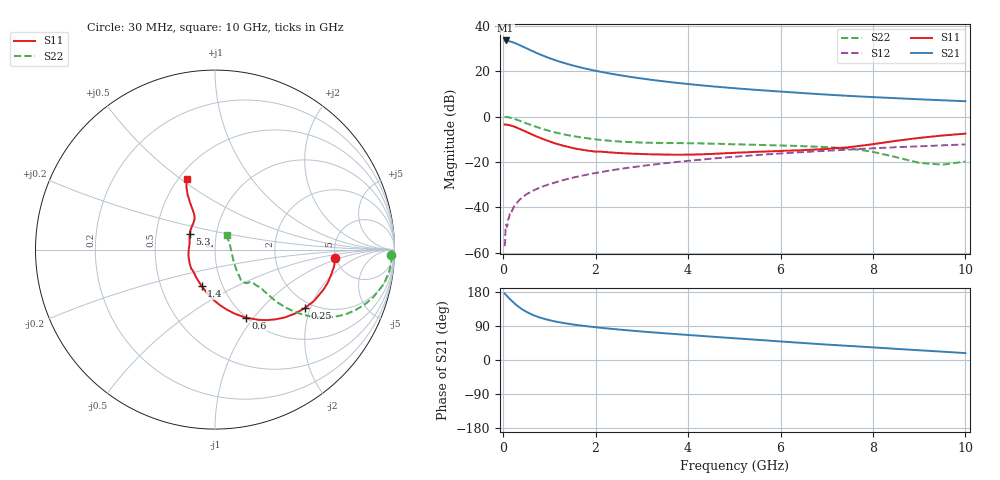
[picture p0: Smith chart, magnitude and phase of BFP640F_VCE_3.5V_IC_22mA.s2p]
! Infineon Technologies  Discrete & RF Semiconductors
! BFP640F
! VCE =  3.5 V,  IC =  22 mA
! Common Emitter S-Parameters:  Apr 2013
# GHz  S  MA  R  50
!  f  S11  S21  S12  S22
! GHz  MAG  ANG  MAG  ANG  MAG  ANG  MAG  ANG
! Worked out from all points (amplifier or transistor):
!   99 points, 30 MHz to 10 GHz, reference 50 ohm
!   highest |S21| = 33.6 dB at 50 MHz (marker M1)
!   |S21| within 3 dB of that: start of sweep to 455.3 MHz
!   unconditionally stable (mu >= 1): 2.141 GHz to end of sweep
!   at 350 MHz: K = 0.38, MSG = 34.1 dB, |S12| = -36.7 dB
!   at 3.5 GHz: K = 1.05, MAG = 16.6 dB, |S12| = -20.5 dB
!   at 10 GHz: K = 1.05, MAG = 8.2 dB, |S12| = -12.2 dB
!   S11 on the Smith chart (normalised r, x): 30 MHz: 4.95, -0.83; 250 MHz: 1.80, -1.83; 600 MHz: 0.99, -0.91; 1.4 GHz: 0.80, -0.34; 5.3 GHz: 0.74, +0.13; 10 GHz: 0.55, +0.52
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0.03  0.672 -3.9  47.59 175.6  0.0014 105.1  0.981 -1.9
0.05  0.6702 -7.2  47.79 173.1  0.0034 64.1  0.9851 -4.0
0.09  0.6624 -12.3  46.94 167.7  0.004 81.7  0.9757 -7.6
0.15  0.6431 -20.6  45.46 160.2  0.0069 83.8  0.9497 -12.8
0.2  0.6225 -27.1  43.81 154.3  0.0089 74.9  0.9214 -16.7
0.25  0.5971 -33.2  41.94 148.7  0.0113 76.0  0.8881 -20.2
0.3  0.5698 -38.8  40 143.6  0.0127 74.7  0.8528 -23.2
0.4  0.5136 -49.2  36 134.6  0.0163 72.8  0.7807 -28.3
0.5  0.4626 -57.9  32.17 127.3  0.0194 72.2  0.7138 -32.0
0.6  0.415 -65.8  28.85 121.1  0.0222 70.6  0.6546 -34.8
0.7  0.375 -72.7  25.93 116.1  0.0249 69.6  0.6029 -36.7
0.9  0.3103 -85.0  21.32 108.2  0.0301 68.8  0.5189 -39.1
1.1  0.2625 -95.8  17.94 102.3  0.0349 68.4  0.4566 -40.2
1.4  0.2164 -110.2  14.39 95.7  0.0426 67.9  0.3917 -40.4
1.7  0.1872 -123.8  11.99 90.7  0.0499 67.4  0.3476 -40.0
2.4  0.1609 -151.3  8.6 81.6  0.0673 65.2  0.2889 -41.1
3.4  0.1469 -179.4  6.128 71.4  0.0916 61.2  0.2635 -43.9
5.1  0.1614 151.5  4.162 56.6  0.1328 53.2  0.2452 -48.3
5.3  0.1645 148.9  4.014 54.9  0.1378 52.1  0.2417 -48.6
6.7  0.1875 131.3  3.205 43.1  0.1703 44.5  0.2196 -49.5
8.5  0.2933 118.1  2.551 29.4  0.2119 34.5  0.1283 -34.5
10  0.4233 112.0  2.19 18.2  0.2442 25.9  0.1024 50.5
